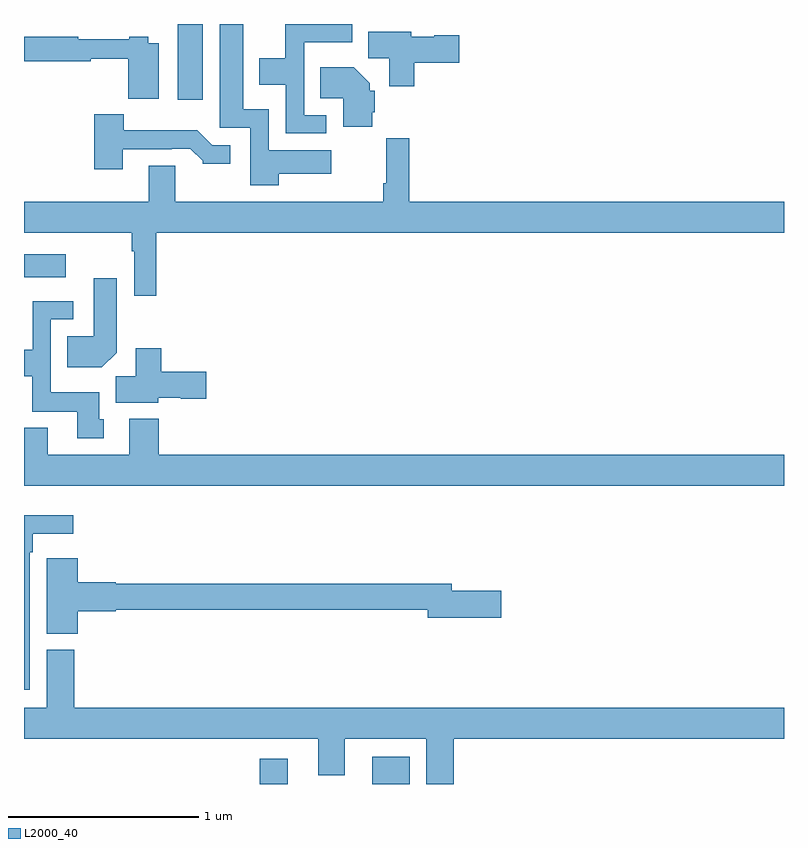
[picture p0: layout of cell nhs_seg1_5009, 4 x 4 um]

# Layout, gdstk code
import gdstk
lib = gdstk.Library(unit=1e-6, precision=1e-09)
def R(c, l, rs):  # rectangles x0, y0, x1, y1
    for r in rs: c.add(gdstk.rectangle(r[:2], r[2:], *l))
def P(c, l, *ps):  # polygons
    for p in ps: c.add(gdstk.Polygon(p, *l))
L2000_40 = (2000, 40)

nhs_seg1_5009 = lib.new_cell('nhs_seg1_5009')
R(nhs_seg1_5009, L2000_40, [(384.242,514.199,384.388,514.333), (384.833,514.199,385.029,514.342), (383,516.866,383.221,516.988), (383.81,517.8,383.941,518.199)])
P(nhs_seg1_5009, L2000_40, [(384.341,517.412),(384.616,517.412),(384.616,517.534),(384.288,517.534),(384.288,517.75),(384.154,517.75),(384.154,518.199),(384.029,518.199),(384.029,517.653),(384.192,517.653),(384.192,517.35),(384.341,517.35)],
  [(384.592,517.719),(384.474,517.719),(384.474,518.102),(384.727,518.102),(384.727,518.199),(384.376,518.199),(384.376,518.02),(384.239,518.02),(384.239,517.88),(384.378,517.88),(384.378,517.623),(384.592,517.623)],
  [(385.055,517.996),(385.291,517.996),(385.291,518.139),(385.158,518.139),(385.158,518.131),(385.038,518.131),(385.038,518.158),(384.812,518.158),(384.812,518.02),(384.923,518.02),(384.923,517.871),(385.055,517.871)],
  [(383.71,518.098),(383.655,518.098),(383.655,518.131),(383.555,518.131),(383.555,518.118),(383.285,518.118),(383.285,518.131),(383,518.131),(383,518.002),(383.35,518.002),(383.35,518.017),(383.548,518.017),(383.548,517.805),(383.71,517.805)],
  [(384.833,517.734),(384.846,517.734),(384.846,517.848),(384.82,517.848),(384.82,517.887),(384.736,517.972),(384.559,517.972),(384.559,517.808),(384.68,517.808),(384.68,517.658),(384.833,517.658)],
  [(383.521,517.539),(383.777,517.539),(383.777,517.542),(383.876,517.542),(383.94,517.478),(383.94,517.463),(384.085,517.463),(384.085,517.56),(383.991,517.56),(383.913,517.639),(383.524,517.639),(383.524,517.723),(383.369,517.723),(383.369,517.434),(383.521,517.434)],
  [(383.696,517.1),(387,517.1),(387,517.264),(385.028,517.264),(385.028,517.597),(384.907,517.597),(384.907,517.36),(384.892,517.36),(384.892,517.264),(383.797,517.264),(383.797,517.454),(383.657,517.454),(383.657,517.264),(383,517.264),(383,517.1),(383.568,517.1),(383.568,517.004),(383.58,517.004),(383.58,516.768),(383.696,516.768)],
  [(383.488,516.47),(383.488,516.862),(383.366,516.862),(383.366,516.556),(383.227,516.556),(383.227,516.392),(383.41,516.392)],
  [(383.419,516.12),(383.395,516.12),(383.395,516.262),(383.142,516.262),(383.142,516.645),(383.26,516.645),(383.26,516.741),(383.046,516.741),(383.046,516.484),(383,516.484),(383,516.344),(383.044,516.344),(383.044,516.158),(383.279,516.158),(383.279,516.018),(383.419,516.018)],
  [(383.706,516.233),(383.826,516.233),(383.826,516.226),(383.959,516.226),(383.959,516.368),(383.723,516.368),(383.723,516.493),(383.588,516.493),(383.588,516.344),(383.483,516.344),(383.483,516.206),(383.706,516.206)],
  [(387,515.932),(383.708,515.932),(383.708,516.121),(383.555,516.121),(383.555,515.932),(383.125,515.932),(383.125,516.073),(383,516.073),(383,515.768),(387,515.768)],
  [(383.031,515.42),(383.047,515.42),(383.047,515.516),(383.26,515.516),(383.26,515.614),(383,515.614),(383,514.694),(383.031,514.694)],
  [(383.282,515.108),(383.484,515.108),(383.484,515.116),(385.124,515.116),(385.124,515.074),(385.513,515.074),(385.513,515.216),(385.252,515.216),(385.252,515.252),(383.484,515.252),(383.484,515.26),(383.282,515.26),(383.282,515.386),(383.121,515.386),(383.121,515.273),(383.12,515.273),(383.12,514.99),(383.282,514.99)],
  [(385.262,514.436),(387,514.436),(387,514.6),(383.264,514.6),(383.264,514.905),(383.12,514.905),(383.12,514.6),(383,514.6),(383,514.436),(384.548,514.436),(384.548,514.246),(384.688,514.246),(384.688,514.436),(385.118,514.436),(385.118,514.199),(385.262,514.199)])

lib.write_gds('nhs_seg1_5009.gds')
